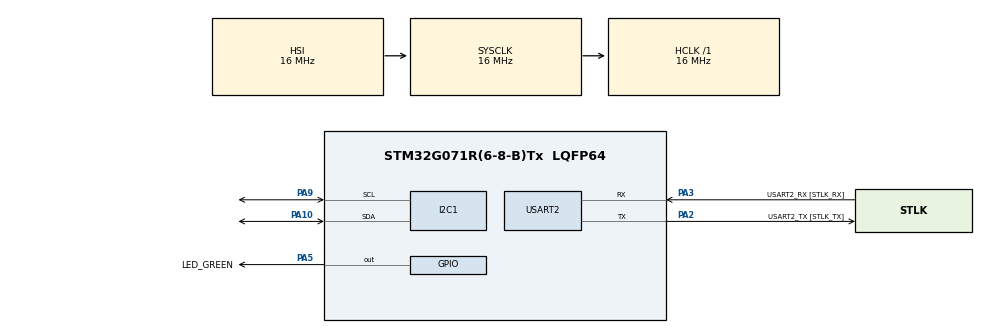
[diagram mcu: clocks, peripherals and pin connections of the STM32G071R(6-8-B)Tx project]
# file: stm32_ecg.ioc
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I2C1.Timing=0x00503D58
Mcu.Family=STM32G0
Mcu.Name=STM32G071R(6-8-B)Tx
Mcu.Package=LQFP64
PA10.Mode=I2C
PA10.Signal=I2C1_SDA
PA13.GPIO_Label=TMS
PA13.Mode=Serial_Wire
PA13.Signal=SYS_SWDIO
PA14-BOOT0.GPIO_Label=TCK
PA14-BOOT0.Mode=Serial_Wire
PA14-BOOT0.Signal=SYS_SWCLK
PA2.GPIO_Label=USART2_TX [STLK_TX]
PA2.GPIO_PuPd=GPIO_PULLUP
PA2.Mode=Asynchronous
PA2.Signal=USART2_TX
PA3.GPIO_Label=USART2_RX [STLK_RX]
PA3.GPIO_PuPd=GPIO_PULLUP
PA3.Mode=Asynchronous
PA3.Signal=USART2_RX
PA5.GPIO_Label=LED_GREEN
PA5.GPIO_Speed=GPIO_SPEED_FREQ_HIGH
PA5.Signal=GPIO_Output
PA9.Mode=I2C
PA9.Signal=I2C1_SCL
PC13.Mode=SYS_WakeUp1
PC13.Signal=SYS_WKUP2
PC14-OSC32_IN\ (PC14).Mode=LSE-External-Oscillator
PC14-OSC32_IN\ (PC14).Signal=RCC_OSC32_IN
PC15-OSC32_OUT\ (PC15).Mode=LSE-External-Oscillator
PC15-OSC32_OUT\ (PC15).Signal=RCC_OSC32_OUT
PF0-OSC_IN\ (PF0).GPIO_Label=MCO
PF0-OSC_IN\ (PF0).Mode=HSE-External-Clock-Source
PF0-OSC_IN\ (PF0).Signal=RCC_OSC_IN
ProjectManager.HeapSize=0x200
ProjectManager.StackSize=0x400
ProjectManager.TargetToolchain=EWARM V8.50
RCC.AHBFreq_Value=16000000
RCC.CortexFreq_Value=16000000
RCC.EXTERNAL_CLOCK_VALUE=12288000
RCC.HCLKFreq_Value=16000000
RCC.HSE_VALUE=8000000
RCC.HSI_VALUE=16000000
RCC.SYSCLKFreq_VALUE=16000000
RCC.VCOOutputFreq_Value=128000000
USART2.VirtualMode-Asynchronous=VM_ASYNC
board=NUCLEO-G071RB

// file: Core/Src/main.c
/* USER CODE BEGIN Header */
/**
  ******************************************************************************
  * @file           : main.c
  * @brief          : Main program body
  ******************************************************************************
  * @attention
  *
  * Copyright (c) 2026 STMicroelectronics.
  * All rights reserved.
  *
  * This software is licensed under terms that can be found in the LICENSE file
  * in the root directory of this software component.
  * If no LICENSE file comes with this software, it is provided AS-IS.
  *
  ******************************************************************************
  */
/* USER CODE END Header */
#include "main.h"

/* USER CODE BEGIN Includes */
#include <stdio.h>
#include "ads1115.h"
/* USER CODE END Includes */

I2C_HandleTypeDef hi2c1;

UART_HandleTypeDef huart2;

void SystemClock_Config(void);
static void MX_GPIO_Init(void);
static void MX_I2C1_Init(void);
static void MX_USART2_UART_Init(void);

/* USER CODE BEGIN 0 */
/* Variables to hold ECG data and Leads-Off status */
int16_t ecg_raw_val = 0;
float ecg_mv_val = 0.0f;
uint8_t leads_off = 0;

/* Timing variable to sample at approximately 250 Hz */
uint32_t last_sample_time = 0;

/* Redirect printf to UART2 */
#ifdef __GNUC__
/* With GCC, small printf (option LD Linker->Libraries->Small printf
   set to 'Yes') calls __io_putchar() */
#define PUTCHAR_PROTOTYPE int __io_putchar(int ch)
#else
#define PUTCHAR_PROTOTYPE int fputc(int ch, FILE *f)
#endif /* __GNUC__ */

PUTCHAR_PROTOTYPE
{
  /* Place your implementation of fputc here */
  /* e.g. write a character to the USART2 and Loop until the end of transmission */
  HAL_UART_Transmit(&huart2, (uint8_t *)&ch, 1, HAL_MAX_DELAY);
  return ch;
}
/* USER CODE END 0 */

int main(void)
{

  /* MCU Configuration--------------------------------------------------------*/

  /* Reset of all peripherals, Initializes the Flash interface and the Systick. */
  HAL_Init();

  /* Configure the system clock */
  SystemClock_Config();

  /* Initialize all configured peripherals */
  MX_GPIO_Init();
  MX_I2C1_Init();
  MX_USART2_UART_Init();
  /* USER CODE BEGIN 2 */
  /* Initialize the ADS1115 ADC */
  printf("Initializing ADS1115...\r\n");
  if (ADS1115_Init(&hi2c1) != HAL_OK)
  {
    printf("Error: ADS1115 initialization failed!\r\n");
    Error_Handler();
  }
  printf("ADS1115 Initialized Successfully.\r\n");
  printf("Starting ECG Acquisition...\r\n");
  /* Header for the serial plotter (raw string for tools like Arduino Serial Plotter) */
  printf("ECG(mV),LO_Plus,LO_Minus\r\n");
  /* USER CODE END 2 */

  /* Infinite loop */
  /* USER CODE BEGIN WHILE */
  while (1)
  {
    uint32_t current_time = HAL_GetTick();

    /* Sample at ~250 Hz (every 4 ms) */
    if (current_time - last_sample_time >= 4)
    {
      last_sample_time = current_time;

      /* 1. Check Leads-Off status (PC0 = LO+, PC1 = LO-) */
      uint8_t lo_plus  = HAL_GPIO_ReadPin(GPIOC, GPIO_PIN_0);
      uint8_t lo_minus = HAL_GPIO_ReadPin(GPIOC, GPIO_PIN_1);

      /* 2. Read ECG signal from ADS1115 */
      ecg_raw_val = ADS1115_ReadRaw(&hi2c1);
      ecg_mv_val  = ADS1115_ToMillivolts(ecg_raw_val);

      /* 3. Send data over UART */
      /* Format: "ECG_value, LO+, LO-" for easy parsing/plotting */
      /* Note: Printing floats requires '-u _printf_float' linker flag.
         If that's not set, we can print the integer part and fractional part manually,
         or just print the raw value. Printing the raw value is often faster and better for plotters.
         We'll format it as an integer cast of the mV scaled up by 1000 for display, or just print decimal. */

      /* Toggle Green LED to indicate running but maybe not at 250Hz, let's do it sparingly in a real app,
         but here we just blink it occasionally or not at all to save time. */

      printf("%d,%d,%d\r\n", (int)(ecg_mv_val * 1000.0f), lo_plus, lo_minus);
    }
    /* USER CODE END WHILE */

  }
}

void SystemClock_Config(void)
{
  RCC_OscInitTypeDef RCC_OscInitStruct = {0};
  RCC_ClkInitTypeDef RCC_ClkInitStruct = {0};

  /** Configure the main internal regulator output voltage
  */
  HAL_PWREx_ControlVoltageScaling(PWR_REGULATOR_VOLTAGE_SCALE1);

  /** Initializes the RCC Oscillators according to the specified parameters
  * in the RCC_OscInitTypeDef structure.
  */
  RCC_OscInitStruct.OscillatorType = RCC_OSCILLATORTYPE_HSI;
  RCC_OscInitStruct.HSIState = RCC_HSI_ON;
  RCC_OscInitStruct.HSIDiv = RCC_HSI_DIV1;
  RCC_OscInitStruct.HSICalibrationValue = RCC_HSICALIBRATION_DEFAULT;
  RCC_OscInitStruct.PLL.PLLState = RCC_PLL_NONE;
  if (HAL_RCC_OscConfig(&RCC_OscInitStruct) != HAL_OK)
  {
    Error_Handler();
  }

  /** Initializes the CPU, AHB and APB buses clocks
  */
  RCC_ClkInitStruct.ClockType = RCC_CLOCKTYPE_HCLK|RCC_CLOCKTYPE_SYSCLK
                              |RCC_CLOCKTYPE_PCLK1;
  RCC_ClkInitStruct.SYSCLKSource = RCC_SYSCLKSOURCE_HSI;
  RCC_ClkInitStruct.AHBCLKDivider = RCC_SYSCLK_DIV1;
  RCC_ClkInitStruct.APB1CLKDivider = RCC_HCLK_DIV1;

  if (HAL_RCC_ClockConfig(&RCC_ClkInitStruct, FLASH_LATENCY_0) != HAL_OK)
  {
    Error_Handler();
  }
}

static void MX_I2C1_Init(void)
{

  hi2c1.Instance = I2C1;
  hi2c1.Init.Timing = 0x00503D58;
  hi2c1.Init.OwnAddress1 = 0;
  hi2c1.Init.AddressingMode = I2C_ADDRESSINGMODE_7BIT;
  hi2c1.Init.DualAddressMode = I2C_DUALADDRESS_DISABLE;
  hi2c1.Init.OwnAddress2 = 0;
  hi2c1.Init.OwnAddress2Masks = I2C_OA2_NOMASK;
  hi2c1.Init.GeneralCallMode = I2C_GENERALCALL_DISABLE;
  hi2c1.Init.NoStretchMode = I2C_NOSTRETCH_DISABLE;
  if (HAL_I2C_Init(&hi2c1) != HAL_OK)
  {
    Error_Handler();
  }

  /** Configure Analogue filter
  */
  if (HAL_I2CEx_ConfigAnalogFilter(&hi2c1, I2C_ANALOGFILTER_ENABLE) != HAL_OK)
  {
    Error_Handler();
  }

  /** Configure Digital filter
  */
  if (HAL_I2CEx_ConfigDigitalFilter(&hi2c1, 0) != HAL_OK)
  {
    Error_Handler();
  }

}

static void MX_USART2_UART_Init(void)
{

  huart2.Instance = USART2;
  huart2.Init.BaudRate = 115200;
  huart2.Init.WordLength = UART_WORDLENGTH_8B;
  huart2.Init.StopBits = UART_STOPBITS_1;
  huart2.Init.Parity = UART_PARITY_NONE;
  huart2.Init.Mode = UART_MODE_TX_RX;
  huart2.Init.HwFlowCtl = UART_HWCONTROL_NONE;
  huart2.Init.OverSampling = UART_OVERSAMPLING_16;
  huart2.Init.OneBitSampling = UART_ONE_BIT_SAMPLE_DISABLE;
  huart2.Init.ClockPrescaler = UART_PRESCALER_DIV1;
  huart2.AdvancedInit.AdvFeatureInit = UART_ADVFEATURE_NO_INIT;
  if (HAL_UART_Init(&huart2) != HAL_OK)
  {
    Error_Handler();
  }
  if (HAL_UARTEx_SetTxFifoThreshold(&huart2, UART_TXFIFO_THRESHOLD_1_8) != HAL_OK)
  {
    Error_Handler();
  }
  if (HAL_UARTEx_SetRxFifoThreshold(&huart2, UART_RXFIFO_THRESHOLD_1_8) != HAL_OK)
  {
    Error_Handler();
  }
  if (HAL_UARTEx_DisableFifoMode(&huart2) != HAL_OK)
  {
    Error_Handler();
  }

}

static void MX_GPIO_Init(void)
{
  GPIO_InitTypeDef GPIO_InitStruct = {0};

  /* GPIO Ports Clock Enable */
  __HAL_RCC_GPIOC_CLK_ENABLE();
  __HAL_RCC_GPIOF_CLK_ENABLE();
  __HAL_RCC_GPIOA_CLK_ENABLE();

  /*Configure GPIO pin Output Level */
  HAL_GPIO_WritePin(LED_GREEN_GPIO_Port, LED_GREEN_Pin, GPIO_PIN_RESET);

  /*Configure GPIO pin : LED_GREEN_Pin */
  GPIO_InitStruct.Pin = LED_GREEN_Pin;
  GPIO_InitStruct.Mode = GPIO_MODE_OUTPUT_PP;
  GPIO_InitStruct.Pull = GPIO_NOPULL;
  GPIO_InitStruct.Speed = GPIO_SPEED_FREQ_HIGH;
  HAL_GPIO_Init(LED_GREEN_GPIO_Port, &GPIO_InitStruct);

  /* USER CODE BEGIN MX_GPIO_Init_2 */
  /* Configure PC0 (LO+) and PC1 (LO-) as Inputs */
  GPIO_InitStruct.Pin = GPIO_PIN_0 | GPIO_PIN_1;
  GPIO_InitStruct.Mode = GPIO_MODE_INPUT;
  GPIO_InitStruct.Pull = GPIO_NOPULL;
  HAL_GPIO_Init(GPIOC, &GPIO_InitStruct);

  /* Configure PC2 (SDN) as Output and set it HIGH to enable AD8232 */
  HAL_GPIO_WritePin(GPIOC, GPIO_PIN_2, GPIO_PIN_SET);

  GPIO_InitStruct.Pin = GPIO_PIN_2;
  GPIO_InitStruct.Mode = GPIO_MODE_OUTPUT_PP;
  GPIO_InitStruct.Pull = GPIO_NOPULL;
  GPIO_InitStruct.Speed = GPIO_SPEED_FREQ_LOW;
  HAL_GPIO_Init(GPIOC, &GPIO_InitStruct);
  /* USER CODE END MX_GPIO_Init_2 */
}

void Error_Handler(void)
{
  __disable_irq();
  while (1)
  {
  }
}
